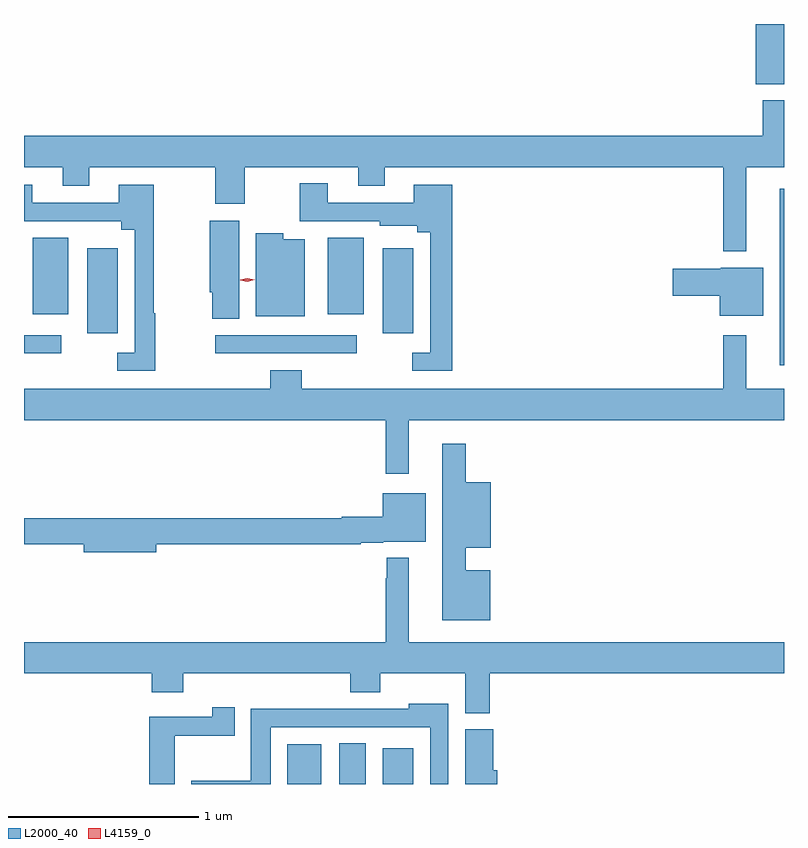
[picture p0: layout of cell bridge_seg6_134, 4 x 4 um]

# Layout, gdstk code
import gdstk
lib = gdstk.Library(unit=1e-6, precision=1e-09)
def R(c, l, rs):  # rectangles x0, y0, x1, y1
    for r in rs: c.add(gdstk.rectangle(r[:2], r[2:], *l))
def P(c, l, *ps):  # polygons
    for p in ps: c.add(gdstk.Polygon(p, *l))
L2000_40 = (2000, 40)
L4159_0 = (4159, 0)

bridge_seg6_134 = lib.new_cell('bridge_seg6_134')
R(bridge_seg6_134, L2000_40, [(410.837,953.413,411.016,953.623), (411.11,953.413,411.25,953.627), (411.338,953.413,411.499,953.602), (413.429,955.617,413.451,956.545), (409.451,955.68,409.648,955.776), (410.457,955.68,411.202,955.776), (409.784,955.785,409.945,956.233), (411.338,955.785,411.499,956.233), (409.496,955.886,409.684,956.287), (411.05,955.886,411.238,956.287), (413.303,957.097,413.451,957.413)])
P(bridge_seg6_134, L2000_40, [(413.251,956.66),(413.451,956.66),(413.451,957.012),(413.339,957.012),(413.339,956.824),(409.451,956.824),(409.451,956.66),(409.655,956.66),(409.655,956.561),(409.795,956.561),(409.795,956.66),(410.458,956.66),(410.458,956.466),(410.613,956.466),(410.613,956.66),(411.209,956.66),(411.209,956.561),(411.349,956.561),(411.349,956.66),(413.13,956.66),(413.13,956.216),(413.251,956.216)],
  [(411.704,956.566),(411.503,956.566),(411.503,956.472),(411.049,956.472),(411.049,956.575),(410.902,956.575),(410.902,956.376),(411.324,956.376),(411.324,956.351),(411.522,956.351),(411.522,956.318),(411.588,956.318),(411.588,955.683),(411.495,955.683),(411.495,955.587),(411.704,955.587)],
  [(410.143,955.89),(410.135,955.89),(410.135,956.566),(409.949,956.566),(409.949,956.472),(409.495,956.472),(409.495,956.566),(409.451,956.566),(409.451,956.376),(409.964,956.376),(409.964,956.33),(410.034,956.33),(410.034,955.683),(409.941,955.683),(409.941,955.587),(410.143,955.587)],
  [(410.584,956.377),(410.429,956.377),(410.429,956.001),(410.443,956.001),(410.443,955.861),(410.584,955.861)],
  [(410.929,956.281),(410.815,956.281),(410.815,956.311),(410.672,956.311),(410.672,955.874),(410.929,955.874)],
  [(413.341,956.131),(413.118,956.131),(413.118,956.126),(412.866,956.126),(412.866,955.984),(413.114,955.984),(413.114,955.877),(413.341,955.877)],
  [(411.475,955.328),(413.451,955.328),(413.451,955.492),(413.251,955.492),(413.251,955.774),(413.13,955.774),(413.13,955.492),(410.912,955.492),(410.912,955.591),(410.747,955.591),(410.747,955.492),(409.451,955.492),(409.451,955.328),(411.354,955.328),(411.354,955.047),(411.475,955.047)],
  [(411.904,954.538),(411.775,954.538),(411.775,954.656),(411.907,954.656),(411.907,955),(411.775,955),(411.775,955.204),(411.653,955.204),(411.653,954.275),(411.904,954.275)],
  [(410.146,954.676),(411.223,954.676),(411.223,954.683),(411.342,954.683),(411.342,954.689),(411.565,954.689),(411.565,954.943),(411.338,954.943),(411.338,954.82),(411.123,954.82),(411.123,954.812),(409.451,954.812),(409.451,954.676),(409.766,954.676),(409.766,954.634),(410.146,954.634)],
  [(411.902,953.996),(413.451,953.996),(413.451,954.16),(411.475,954.16),(411.475,954.604),(411.361,954.604),(411.361,954.497),(411.354,954.497),(411.354,954.16),(409.451,954.16),(409.451,953.996),(410.123,953.996),(410.123,953.897),(410.288,953.897),(410.288,953.996),(411.167,953.996),(411.167,953.897),(411.327,953.897),(411.327,953.996),(411.773,953.996),(411.773,953.785),(411.902,953.785)],
  [(410.749,953.712),(411.588,953.712),(411.588,953.413),(411.684,953.413),(411.684,953.836),(411.477,953.836),(411.477,953.808),(411.083,953.808),(411.083,953.81),(410.645,953.81),(410.645,953.43),(410.33,953.43),(410.33,953.413),(410.749,953.413)],
  [(410.245,953.668),(410.56,953.668),(410.56,953.818),(410.443,953.818),(410.443,953.767),(410.111,953.767),(410.111,953.413),(410.245,953.413)],
  [(411.943,953.486),(411.92,953.486),(411.92,953.7),(411.773,953.7),(411.773,953.413),(411.943,953.413)])
P(bridge_seg6_134, L4159_0, [(410.627,956.056),(410.589,956.065),(410.589,956.066),(410.589,956.066),(410.627,956.076),(410.665,956.067),(410.665,956.067),(410.665,956.066)])

lib.write_gds('bridge_seg6_134.gds')
